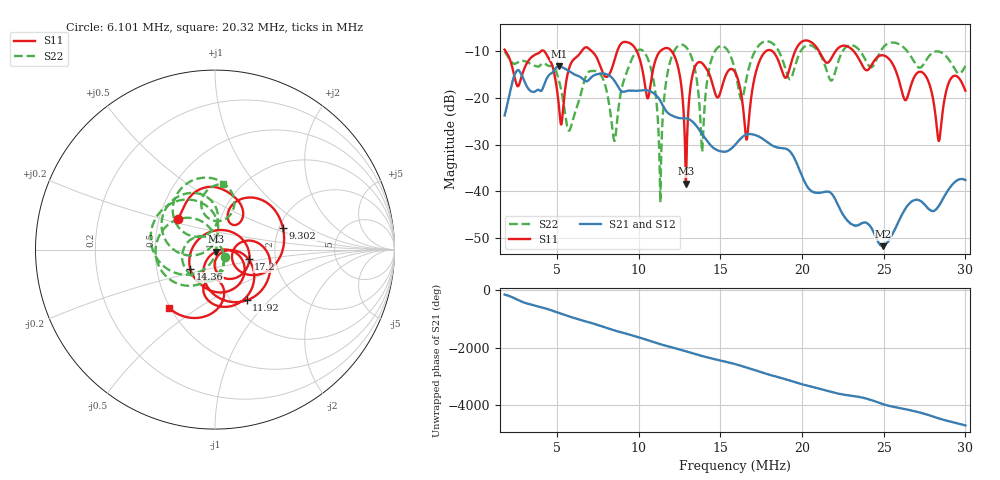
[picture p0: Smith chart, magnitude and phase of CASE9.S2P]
!Agilent Technologies,E5061B,MY49101568,A.02.00
!Date: Wed Mar 01 15:29:03 2023
!Data & Calibration Information:
!Freq	S11:SOLT2(OFF)	S21:SOLT2(OFF)	S12:SOLT2(OFF)	S22:SOLT2(OFF)
# Hz S dB R 50
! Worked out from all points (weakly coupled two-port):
!   1155 points, 1.8 MHz to 30 MHz, reference 50 ohm
!   highest |S21| = -13.21 dB at 5.123 MHz (marker M1); lowest = -51.8 dB at 24.97 MHz (marker M2)
!   lowest |S11| = -38.4 dB at 12.89 MHz (marker M3), VSWR 1.02, Z = 50.4 - j1.13 ohm
!   |S11| at or under -10 dB: 4.239 MHz to 6.5 MHz (2.261 MHz wide, 42.1 % of centre); 12.03 MHz to 17.77 MHz (5.738 MHz wide, 38.5 % of centre); 23.18 MHz to end of sweep (the widest 3 of 8)
!   |S22| runs from -42.4 to -7.8 dB; largest |S21 - S12| = 0.003
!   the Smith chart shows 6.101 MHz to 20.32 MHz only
!   S11 on the Smith chart (normalised r, x): 6.101 MHz: 0.63, +0.23; 9.302 MHz: 2.10, +0.60; 11.92 MHz: 1.17, -0.75; 14.36 MHz: 0.74, -0.16; 17.2 MHz: 1.45, -0.16; 20.32 MHz: 0.49, -0.39
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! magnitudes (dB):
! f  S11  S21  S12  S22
! 1.8 MHz  -9.6  -23.7  -23.7  -10.0
! 5.123 MHz  -21.7  -13.2  -13.2  -16.2
! 6.101 MHz  -11.5  -15.0  -15.0  -23.2
! 6.516 MHz  -9.9  -15.7  -15.6  -18.5
! 7.665 MHz  -13.3  -14.7  -14.7  -14.9
! 8.52 MHz  -11.9  -16.3  -16.2  -29.2
! 9.302 MHz  -8.0  -18.5  -18.4  -14.2
! 10.5 MHz  -19.6  -18.3  -18.4  -11.1
! 11.21 MHz  -10.5  -20.0  -20.0  -26.3
! 11.92 MHz  -9.5  -23.5  -23.6  -12.4
! 12.89 MHz  -38.4  -24.4  -24.4  -9.0
! 13.87 MHz  -12.5  -27.6  -27.6  -31.4
! 14.36 MHz  -15.1  -29.9  -30.0  -13.0
! 15.9 MHz  -14.4  -30.1  -30.1  -14.1
! 16.61 MHz  -28.9  -27.8  -27.9  -15.7
! 17.2 MHz  -14.2  -28.0  -28.1  -9.5
! 20.32 MHz  -7.7  -39.0  -39.0  -8.7
! 20.62 MHz  -8.1  -40.0  -40.0  -8.8
! 24.97 MHz  -10.8  -51.8  -51.7  -9.1
! 25.31 MHz  -11.5  -50.6  -50.5  -8.2
! 28.36 MHz  -29.2  -43.2  -43.2  -10.0
! 30 MHz  -18.4  -37.6  -37.6  -13.1
